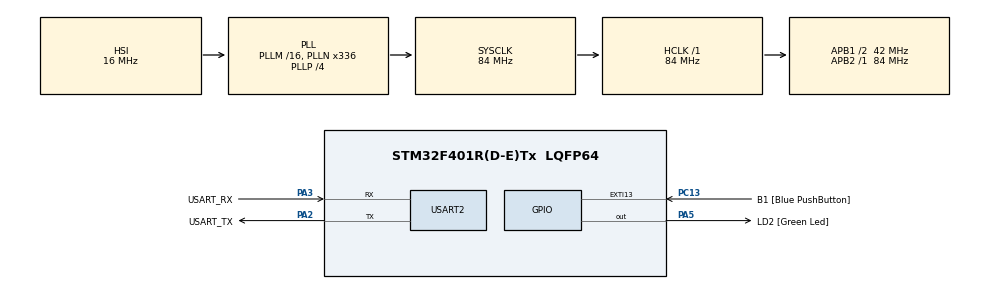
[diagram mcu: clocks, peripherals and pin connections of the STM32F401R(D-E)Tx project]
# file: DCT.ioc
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Mcu.Family=STM32F4
Mcu.Name=STM32F401R(D-E)Tx
Mcu.Package=LQFP64
NVIC.PriorityGroup=NVIC_PRIORITYGROUP_0
PA13.GPIO_Label=TMS
PA13.Mode=Serial_Wire
PA13.Signal=SYS_JTMS-SWDIO
PA14.GPIO_Label=TCK
PA14.Mode=Serial_Wire
PA14.Signal=SYS_JTCK-SWCLK
PA2.GPIO_Label=USART_TX
PA2.GPIO_Mode=GPIO_MODE_AF_PP
PA2.GPIO_PuPd=GPIO_NOPULL
PA2.GPIO_Speed=GPIO_SPEED_FREQ_LOW
PA2.Mode=Asynchronous
PA2.Signal=USART2_TX
PA3.GPIO_Label=USART_RX
PA3.GPIO_Mode=GPIO_MODE_AF_PP
PA3.GPIO_PuPd=GPIO_NOPULL
PA3.GPIO_Speed=GPIO_SPEED_FREQ_LOW
PA3.Mode=Asynchronous
PA3.Signal=USART2_RX
PA5.GPIO_Label=LD2 [Green Led]
PA5.GPIO_Mode=GPIO_MODE_OUTPUT_PP
PA5.GPIO_PuPd=GPIO_NOPULL
PA5.GPIO_Speed=GPIO_SPEED_FREQ_LOW
PA5.Signal=GPIO_Output
PB3.GPIO_Label=SWO
PB3.Signal=SYS_JTDO-SWO
PC13-ANTI_TAMP.GPIO_Label=B1 [Blue PushButton]
PC13-ANTI_TAMP.GPIO_ModeDefaultEXTI=GPIO_MODE_IT_FALLING
PC13-ANTI_TAMP.GPIO_PuPd=GPIO_NOPULL
PC13-ANTI_TAMP.Signal=GPXTI13
PC14-OSC32_IN.Mode=LSE-External-Oscillator
PC14-OSC32_IN.Signal=RCC_OSC32_IN
PC15-OSC32_OUT.Mode=LSE-External-Oscillator
PC15-OSC32_OUT.Signal=RCC_OSC32_OUT
PH0\ -\ OSC_IN.Mode=HSE-External-Clock-Source
PH0\ -\ OSC_IN.Signal=RCC_OSC_IN
PH1\ -\ OSC_OUT.Mode=HSE-External-Clock-Source
PH1\ -\ OSC_OUT.Signal=RCC_OSC_OUT
ProjectManager.HeapSize=0x200
ProjectManager.StackSize=0x400
ProjectManager.TargetToolchain=TrueSTUDIO
RCC.48MHZClocksFreq_Value=48000000
RCC.AHBFreq_Value=84000000
RCC.APB1CLKDivider=RCC_HCLK_DIV2
RCC.APB1Freq_Value=42000000
RCC.APB1TimFreq_Value=84000000
RCC.APB2Freq_Value=84000000
RCC.APB2TimFreq_Value=84000000
RCC.CortexFreq_Value=84000000
RCC.HCLKFreq_Value=84000000
RCC.HSE_VALUE=8000000
RCC.HSI_VALUE=16000000
RCC.PLLN=336
RCC.PLLP=RCC_PLLP_DIV4
RCC.PLLQ=7
RCC.SYSCLKFreq_VALUE=84000000
RCC.SYSCLKSource=RCC_SYSCLKSOURCE_PLLCLK
RCC.VCOOutputFreq_Value=336000000
USART2.VirtualMode=VM_ASYNC
board=NUCLEO-F401RE

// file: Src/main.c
/* USER CODE BEGIN Header */
/**
  ******************************************************************************
  * @file           : main.c
  * @brief          : Main program body
  ******************************************************************************
  ** This notice applies to any and all portions of this file
  * that are not between comment pairs USER CODE BEGIN and
  * USER CODE END. Other portions of this file, whether
  * inserted by the user or by software development tools
  * are owned by their respective copyright owners.
  *
  * COPYRIGHT(c) 2019 STMicroelectronics
  *
  * Redistribution and use in source and binary forms, with or without modification,
  * are permitted provided that the following conditions are met:
  *   1. Redistributions of source code must retain the above copyright notice,
  *      this list of conditions and the following disclaimer.
  *   2. Redistributions in binary form must reproduce the above copyright notice,
  *      this list of conditions and the following disclaimer in the documentation
  *      and/or other materials provided with the distribution.
  *   3. Neither the name of STMicroelectronics nor the names of its contributors
  *      may be used to endorse or promote products derived from this software
  *      without specific prior written permission.
  *
  * THIS SOFTWARE IS PROVIDED BY THE COPYRIGHT HOLDERS AND CONTRIBUTORS "AS IS"
  * AND ANY EXPRESS OR IMPLIED WARRANTIES, INCLUDING, BUT NOT LIMITED TO, THE
  * IMPLIED WARRANTIES OF MERCHANTABILITY AND FITNESS FOR A PARTICULAR PURPOSE ARE
  * DISCLAIMED. IN NO EVENT SHALL THE COPYRIGHT HOLDER OR CONTRIBUTORS BE LIABLE
  * FOR ANY DIRECT, INDIRECT, INCIDENTAL, SPECIAL, EXEMPLARY, OR CONSEQUENTIAL
  * DAMAGES (INCLUDING, BUT NOT LIMITED TO, PROCUREMENT OF SUBSTITUTE GOODS OR
  * SERVICES; LOSS OF USE, DATA, OR PROFITS; OR BUSINESS INTERRUPTION) HOWEVER
  * CAUSED AND ON ANY THEORY OF LIABILITY, WHETHER IN CONTRACT, STRICT LIABILITY,
  * OR TORT (INCLUDING NEGLIGENCE OR OTHERWISE) ARISING IN ANY WAY OUT OF THE USE
  * OF THIS SOFTWARE, EVEN IF ADVISED OF THE POSSIBILITY OF SUCH DAMAGE.
  *
  ******************************************************************************
  */
/* USER CODE END Header */

#include "main.h"
#include "usart.h"
#include "gpio.h"

/* USER CODE BEGIN Includes */
#include "dct.h"
/* USER CODE END Includes */

void SystemClock_Config(void);

int main(void)
{
  /* USER CODE BEGIN 1 */

  dct2_instance_f32 S;

  dct2_instance_f32 S_2d;

  dct2_instance_f32 S_zigzag_even;

  dct2_instance_f32 S_zigzag_odd;

  float32_t in_data[8] = {
      1.0, 0.0, 1.0, 2.0, 3.0, 4.0, 3.0, 2.0
  };

  float32_t out_data[8] = { 0.0 };

  float32_t in_data_2d[8*8] = {
      1.0, 0.0, 1.0, 2.0, 3.0, 4.0, 3.0, 2.0,
            2.0, 0.0, 0.0, 2.0, 3.0, 4.0, 4.0, 2.0,
            3.0, 0.0, -1.0, 2.0, 3.0, 4.0, 3.0, 2.0,
            4.0, 0.0, -2.0, 2.0, 3.0, 4.0, 2.0, 2.0,
            5.0, 4.0, 3.0, 2.0, 1.0, 0.0, -1.0, -2.0,
            6.0, 0.0, -4.0, 2.0, 3.0, 4.0, 0.0, 2.0,
            7.0, 6.0, 5.0, 4.0, 3.0, 2.0, 1.0, 0.0,
            8.0, 0.0, -6.0, 2.0, 3.0, 4.0, -2.0, 2.0
  };

  float32_t out_data_2d[8*8] = { 0.0 };

  float32_t in_data_zigzag_even[8*8] = {
       1.0,  2.0,  6.0,  7.0, 15.0, 16.0, 28.0, 29.0,
       3.0,  5.0,  8.0, 14.0, 17.0, 27.0, 30.0, 43.0,
       4.0,  9.0, 13.0, 18.0, 26.0, 31.0, 42.0, 44.0,
      10.0, 12.0, 19.0, 25.0, 32.0, 41.0, 45.0, 54.0,
      11.0, 20.0, 24.0, 33.0, 40.0, 46.0, 53.0, 55.0,
      21.0, 23.0, 34.0, 39.0, 47.0, 52.0, 56.0, 61.0,
      22.0, 35.0, 38.0, 48.0, 51.0, 57.0, 60.0, 62.0,
      36.0, 37.0, 49.0, 50.0, 58.0, 59.0, 63.0, 64.0
  };

  float32_t out_data_zigzag_even[8*8] = { 0.0 };

  float32_t in_data_zigzag_odd[7*7] = {
       1.0,  2.0,  6.0,  7.0, 15.0, 16.0, 28.0,
       3.0,  5.0,  8.0, 14.0, 17.0, 27.0, 29.0,
       4.0,  9.0, 13.0, 18.0, 26.0, 30.0, 39.0,
      10.0, 12.0, 19.0, 25.0, 31.0, 38.0, 40.0,
      11.0, 20.0, 24.0, 32.0, 37.0, 41.0, 46.0,
      21.0, 23.0, 33.0, 36.0, 42.0, 45.0, 47.0,
      22.0, 34.0, 35.0, 43.0, 44.0, 48.0, 49.0
  };

  float32_t out_data_zigzag_odd[7*7] = { 0.0 };

  /* USER CODE END 1 */

  /* MCU Configuration--------------------------------------------------------*/

  /* Reset of all peripherals, Initializes the Flash interface and the Systick. */
  HAL_Init();

  /* Configure the system clock */
  SystemClock_Config();

  /* Initialize all configured peripherals */
  MX_GPIO_Init();
  MX_USART2_UART_Init();
  /* USER CODE BEGIN 2 */

  dct2_init_f32(&S, 8);
  dct2_2d_init_f32(&S_2d, 8, 8);
  dct2_2d_init_f32(&S_zigzag_even, 8, 8);
  dct2_2d_init_f32(&S_zigzag_odd, 7, 7);

  printf ("**** START *********\n");

  printf(">> DCT\n");
  dct2_f32(&S, in_data, out_data, 0);
  for (int i=0; i<8; i++) {
    printf("[%d] %.1f\n", i, out_data[i]);
  }
  printf(">> inverse DCT\n");
  dct2_f32(&S, out_data, in_data, 1);
  for (int i=0; i<8; i++) {
    printf("[%d] %.1f\n", i, in_data[i]);
  }

  printf(">> DCT 2D\n");
  dct2_2d_f32(&S_2d, in_data_2d, out_data_2d, 0);
  for (int i=0; i<8*8; i++) {
    printf("[%d] %.1f\n", i, out_data_2d[i]);
  }
  printf(">> inverse DCT 2D\n");
  dct2_2d_f32(&S_2d, out_data_2d, in_data_2d, 1);
  for (int i=0; i<8*8; i++) {
    printf("[%d] %.1f\n", i, in_data_2d[i]);
  }

  printf(">> Zigzag scan even\n");
  zigzag_scan_f32(&S_zigzag_even, in_data_zigzag_even, out_data_zigzag_even);
  for (int i=0; i<8*8; i++) {
    printf("[%d] %.1f\n", i, out_data_zigzag_even[i]);
  }

  printf(">> Zigzag scan odd\n");
  zigzag_scan_f32(&S_zigzag_odd, in_data_zigzag_odd, out_data_zigzag_odd);
  for (int i=0; i<7*7; i++) {
    printf("[%d] %.1f\n", i, out_data_zigzag_odd[i]);
  }

  /* USER CODE END 2 */

  /* Infinite loop */
  while (1)
  {
  }
}

void SystemClock_Config(void)
{
  RCC_OscInitTypeDef RCC_OscInitStruct = {0};
  RCC_ClkInitTypeDef RCC_ClkInitStruct = {0};

  /**Configure the main internal regulator output voltage
  */
  __HAL_RCC_PWR_CLK_ENABLE();
  __HAL_PWR_VOLTAGESCALING_CONFIG(PWR_REGULATOR_VOLTAGE_SCALE2);
  /**Initializes the CPU, AHB and APB busses clocks
  */
  RCC_OscInitStruct.OscillatorType = RCC_OSCILLATORTYPE_HSI;
  RCC_OscInitStruct.HSIState = RCC_HSI_ON;
  RCC_OscInitStruct.HSICalibrationValue = RCC_HSICALIBRATION_DEFAULT;
  RCC_OscInitStruct.PLL.PLLState = RCC_PLL_ON;
  RCC_OscInitStruct.PLL.PLLSource = RCC_PLLSOURCE_HSI;
  RCC_OscInitStruct.PLL.PLLM = 16;
  RCC_OscInitStruct.PLL.PLLN = 336;
  RCC_OscInitStruct.PLL.PLLP = RCC_PLLP_DIV4;
  RCC_OscInitStruct.PLL.PLLQ = 7;
  if (HAL_RCC_OscConfig(&RCC_OscInitStruct) != HAL_OK)
  {
    Error_Handler();
  }
  /**Initializes the CPU, AHB and APB busses clocks
  */
  RCC_ClkInitStruct.ClockType = RCC_CLOCKTYPE_HCLK|RCC_CLOCKTYPE_SYSCLK
                              |RCC_CLOCKTYPE_PCLK1|RCC_CLOCKTYPE_PCLK2;
  RCC_ClkInitStruct.SYSCLKSource = RCC_SYSCLKSOURCE_PLLCLK;
  RCC_ClkInitStruct.AHBCLKDivider = RCC_SYSCLK_DIV1;
  RCC_ClkInitStruct.APB1CLKDivider = RCC_HCLK_DIV2;
  RCC_ClkInitStruct.APB2CLKDivider = RCC_HCLK_DIV1;

  if (HAL_RCC_ClockConfig(&RCC_ClkInitStruct, FLASH_LATENCY_2) != HAL_OK)
  {
    Error_Handler();
  }
}

/* USER CODE BEGIN 4 */
int _write(int file, char *ptr, int len) {
  HAL_UART_Transmit(&huart2, (uint8_t *) ptr, (uint16_t) len, 0xFFFFFFFF);
  return len;
}
/* USER CODE END 4 */

void Error_Handler(void)
{
}

/************************ (C) COPYRIGHT STMicroelectronics *****END OF FILE****/
